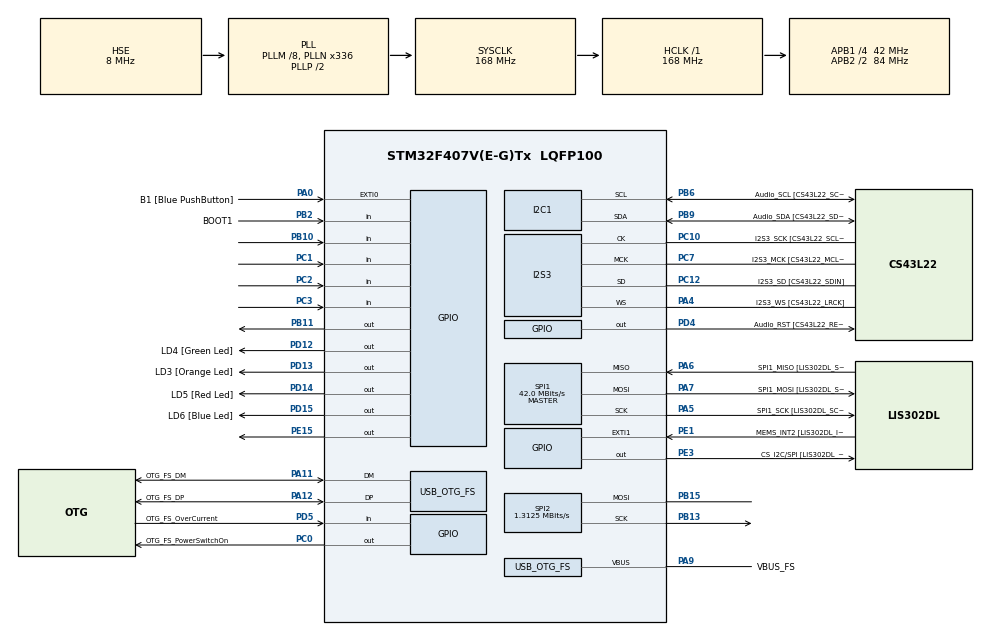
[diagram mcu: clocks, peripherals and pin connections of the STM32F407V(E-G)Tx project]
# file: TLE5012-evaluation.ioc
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FREERTOS.Tasks01=defaultTask,0,128,StartDefaultTask,Default,NULL,Dynamic,NULL,NULL
FREERTOS.configCHECK_FOR_STACK_OVERFLOW=2
FREERTOS.configUSE_MALLOC_FAILED_HOOK=1
I2S3.AudioFreq-Half_Duplex_Master=I2S_AUDIOFREQ_96K
I2S3.ErrorAudioFreq=-2.34 %
I2S3.ErrorAudioFreq-Half_Duplex_Master=0.8 %
I2S3.FullDuplexMode=I2S_FULLDUPLEXMODE_DISABLE
I2S3.Instance=SPI$Index
I2S3.RealAudioFreq=93.75 KHz
I2S3.RealAudioFreq-Half_Duplex_Master=96.774 KHz
I2S3.VirtualMode=I2S_MODE_MASTER
Mcu.Family=STM32F4
Mcu.Name=STM32F407V(E-G)Tx
Mcu.Package=LQFP100
NVIC.OTG_FS_IRQn=true\:0\:0\:false\:false\:true\:false\:true\:true
NVIC.PriorityGroup=NVIC_PRIORITYGROUP_4
NVIC.TIM8_TRG_COM_TIM14_IRQn=true\:0\:0\:false\:false\:true\:false\:false\:true
NVIC.TimeBase=TIM8_TRG_COM_TIM14_IRQn
NVIC.TimeBaseIP=TIM14
PA0-WKUP.GPIO_Label=B1 [Blue PushButton]
PA0-WKUP.GPIO_ModeDefaultEXTI=GPIO_MODE_EVT_RISING
PA0-WKUP.GPIO_PuPd=GPIO_NOPULL
PA0-WKUP.Signal=GPXTI0
PA10.GPIO_Label=OTG_FS_ID
PA10.GPIO_Mode=GPIO_MODE_AF_PP
PA10.GPIO_PuPd=GPIO_NOPULL
PA10.GPIO_Speed=GPIO_SPEED_FREQ_LOW
PA10.Signal=USB_OTG_FS_ID
PA11.GPIO_Label=OTG_FS_DM
PA11.GPIO_Mode=GPIO_MODE_AF_PP
PA11.GPIO_PuPd=GPIO_NOPULL
PA11.GPIO_Speed=GPIO_SPEED_FREQ_LOW
PA11.Mode=Host_Only
PA11.Signal=USB_OTG_FS_DM
PA12.GPIO_Label=OTG_FS_DP
PA12.GPIO_Mode=GPIO_MODE_AF_PP
PA12.GPIO_PuPd=GPIO_NOPULL
PA12.GPIO_Speed=GPIO_SPEED_FREQ_LOW
PA12.Mode=Host_Only
PA12.Signal=USB_OTG_FS_DP
PA13.GPIO_Label=SWDIO
PA13.Mode=Serial_Wire
PA13.Signal=SYS_JTMS-SWDIO
PA14.GPIO_Label=SWCLK
PA14.Mode=Serial_Wire
PA14.Signal=SYS_JTCK-SWCLK
PA4.GPIO_Label=I2S3_WS [CS43L22_LRCK]
PA4.GPIO_Mode=GPIO_MODE_AF_PP
PA4.GPIO_PuPd=GPIO_NOPULL
PA4.GPIO_Speed=GPIO_SPEED_FREQ_LOW
PA4.Mode=Half_Duplex_Master
PA4.Signal=I2S3_WS
PA5.GPIO_Label=SPI1_SCK [LIS302DL_SCL/SPC]
PA5.GPIO_Mode=GPIO_MODE_AF_PP
PA5.GPIO_PuPd=GPIO_NOPULL
PA5.GPIO_Speed=GPIO_SPEED_FREQ_LOW
PA5.Mode=Full_Duplex_Master
PA5.Signal=SPI1_SCK
PA6.GPIO_Label=SPI1_MISO [LIS302DL_SDO]
PA6.GPIO_Mode=GPIO_MODE_AF_PP
PA6.GPIO_PuPd=GPIO_NOPULL
PA6.GPIO_Speed=GPIO_SPEED_FREQ_LOW
PA6.Mode=Full_Duplex_Master
PA6.Signal=SPI1_MISO
PA7.GPIO_Label=SPI1_MOSI [LIS302DL_SDA/SDI/SDO]
PA7.GPIO_Mode=GPIO_MODE_AF_PP
PA7.GPIO_PuPd=GPIO_NOPULL
PA7.GPIO_Speed=GPIO_SPEED_FREQ_LOW
PA7.Mode=Full_Duplex_Master
PA7.Signal=SPI1_MOSI
PA9.GPIO_Label=VBUS_FS
PA9.GPIO_Mode=GPIO_MODE_INPUT
PA9.GPIO_PuPd=GPIO_NOPULL
PA9.Mode=Activate_VBUS
PA9.Signal=USB_OTG_FS_VBUS
PB10.Signal=GPIO_Input
PB11.GPIO_Speed=GPIO_SPEED_FREQ_HIGH
PB11.PinState=GPIO_PIN_SET
PB11.Signal=GPIO_Output
PB13.GPIO_Speed=GPIO_SPEED_FREQ_HIGH
PB13.Mode=Simplex_Bidirectional_Master
PB13.Signal=SPI2_SCK
PB15.GPIO_Speed=GPIO_SPEED_FREQ_HIGH
PB15.Mode=Simplex_Bidirectional_Master
PB15.Signal=SPI2_MOSI
PB2.GPIO_Label=BOOT1
PB2.GPIO_Mode=GPIO_MODE_INPUT
PB2.GPIO_PuPd=GPIO_NOPULL
PB2.Signal=GPIO_Input
PB3.GPIO_Label=SWO
PB3.Signal=SYS_JTDO-SWO
PB6.GPIO_Label=Audio_SCL [CS43L22_SCL]
PB6.GPIO_Mode=GPIO_MODE_AF_OD
PB6.GPIO_PuPd=GPIO_NOPULL
PB6.GPIO_Speed=GPIO_SPEED_FREQ_LOW
PB6.Mode=I2C
PB6.Signal=I2C1_SCL
PB9.GPIO_Label=Audio_SDA [CS43L22_SDA]
PB9.GPIO_Mode=GPIO_MODE_AF_OD
PB9.GPIO_PuPd=GPIO_NOPULL
PB9.GPIO_Speed=GPIO_SPEED_FREQ_LOW
PB9.Mode=I2C
PB9.Signal=I2C1_SDA
PC0.GPIO_Label=OTG_FS_PowerSwitchOn
PC0.GPIO_PuPd=GPIO_NOPULL
PC0.GPIO_Speed=GPIO_SPEED_FREQ_LOW
PC0.PinState=GPIO_PIN_SET
PC0.Signal=GPIO_Output
PC1.Signal=GPIO_Input
PC10.GPIO_Label=I2S3_SCK [CS43L22_SCLK]
PC10.GPIO_Mode=GPIO_MODE_AF_PP
PC10.GPIO_PuPd=GPIO_NOPULL
PC10.GPIO_Speed=GPIO_SPEED_FREQ_LOW
PC10.Mode=Half_Duplex_Master
PC10.Signal=I2S3_CK
PC12.GPIO_Label=I2S3_SD [CS43L22_SDIN]
PC12.GPIO_Mode=GPIO_MODE_AF_PP
PC12.GPIO_PuPd=GPIO_NOPULL
PC12.GPIO_Speed=GPIO_SPEED_FREQ_LOW
PC12.Mode=Half_Duplex_Master
PC12.Signal=I2S3_SD
PC14-OSC32_IN.GPIO_Label=PC14-OSC32_IN
PC14-OSC32_IN.Mode=LSE-External-Oscillator
PC14-OSC32_IN.Signal=RCC_OSC32_IN
PC15-OSC32_OUT.GPIO_Label=PC15-OSC32_OUT
PC15-OSC32_OUT.Mode=LSE-External-Oscillator
PC15-OSC32_OUT.Signal=RCC_OSC32_OUT
PC2.Signal=GPIO_Input
PC3.Signal=GPIO_Input
PC7.GPIO_Label=I2S3_MCK [CS43L22_MCLK]
PC7.GPIO_Mode=GPIO_MODE_AF_PP
PC7.GPIO_PuPd=GPIO_NOPULL
PC7.GPIO_Speed=GPIO_SPEED_FREQ_LOW
PC7.Mode=Master_Clock_Activated
PC7.Signal=I2S3_MCK
PD12.GPIO_Label=LD4 [Green Led]
PD12.GPIO_PuPd=GPIO_NOPULL
PD12.GPIO_Speed=GPIO_SPEED_FREQ_LOW
PD12.Signal=GPIO_Output
PD13.GPIO_Label=LD3 [Orange Led]
PD13.GPIO_PuPd=GPIO_NOPULL
PD13.GPIO_Speed=GPIO_SPEED_FREQ_LOW
PD13.Signal=GPIO_Output
PD14.GPIO_Label=LD5 [Red Led]
PD14.GPIO_PuPd=GPIO_NOPULL
PD14.GPIO_Speed=GPIO_SPEED_FREQ_LOW
PD14.Signal=GPIO_Output
PD15.GPIO_Label=LD6 [Blue Led]
PD15.GPIO_PuPd=GPIO_NOPULL
PD15.GPIO_Speed=GPIO_SPEED_FREQ_LOW
PD15.Signal=GPIO_Output
PD4.GPIO_Label=Audio_RST [CS43L22_RESET]
PD4.GPIO_PuPd=GPIO_NOPULL
PD4.GPIO_Speed=GPIO_SPEED_FREQ_LOW
PD4.Signal=GPIO_Output
PD5.GPIO_Label=OTG_FS_OverCurrent
PD5.GPIO_Mode=GPIO_MODE_INPUT
PD5.GPIO_PuPd=GPIO_NOPULL
PD5.Signal=GPIO_Input
PE1.GPIO_Label=MEMS_INT2 [LIS302DL_INT2]
PE1.GPIO_ModeDefaultEXTI=GPIO_MODE_EVT_RISING
PE1.GPIO_PuPd=GPIO_NOPULL
PE1.Signal=GPXTI1
PE15.Signal=GPIO_Output
PE3.GPIO_Label=CS_I2C/SPI [LIS302DL_CS_I2C/SPI]
PE3.GPIO_PuPd=GPIO_NOPULL
PE3.GPIO_Speed=GPIO_SPEED_FREQ_LOW
PE3.Signal=GPIO_Output
PH0-OSC_IN.GPIO_Label=PH0-OSC_IN
PH0-OSC_IN.Mode=HSE-External-Oscillator
PH0-OSC_IN.Signal=RCC_OSC_IN
PH1-OSC_OUT.GPIO_Label=PH1-OSC_OUT
PH1-OSC_OUT.Mode=HSE-External-Oscillator
PH1-OSC_OUT.Signal=RCC_OSC_OUT
ProjectManager.HeapSize=0x200
ProjectManager.StackSize=0x400
ProjectManager.TargetToolchain=STM32CubeIDE
RCC.48MHZClocksFreq_Value=48000000
RCC.AHBFreq_Value=168000000
RCC.APB1CLKDivider=RCC_HCLK_DIV4
RCC.APB1Freq_Value=42000000
RCC.APB1TimFreq_Value=84000000
RCC.APB2CLKDivider=RCC_HCLK_DIV2
RCC.APB2Freq_Value=84000000
RCC.APB2TimFreq_Value=168000000
RCC.CortexFreq_Value=168000000
RCC.HCLKFreq_Value=168000000
RCC.HSE_VALUE=8000000
RCC.HSI_VALUE=16000000
RCC.PLLM=8
RCC.PLLN=336
RCC.PLLQ=7
RCC.SYSCLKFreq_VALUE=168000000
RCC.SYSCLKSource=RCC_SYSCLKSOURCE_PLLCLK
RCC.VCOOutputFreq_Value=336000000
SPI1.CalculateBaudRate=42.0 MBits/s
SPI1.Direction=SPI_DIRECTION_2LINES
SPI1.Mode=SPI_MODE_MASTER
SPI1.VirtualType=VM_MASTER
SPI2.BaudRatePrescaler=SPI_BAUDRATEPRESCALER_32
SPI2.CLKPhase=SPI_PHASE_2EDGE
SPI2.CLKPolarity=SPI_POLARITY_LOW
SPI2.CalculateBaudRate=1.3125 MBits/s
SPI2.DataSize=SPI_DATASIZE_16BIT
SPI2.Direction=SPI_DIRECTION_1LINE
SPI2.Mode=SPI_MODE_MASTER
SPI2.VirtualType=VM_MASTER
USB_HOST.BSP.number=1
USB_HOST.USBH_HandleTypeDef-CDC_FS=hUsbHostFS
USB_HOST.USBH_USE_OS-CDC_FS=0
USB_HOST.VirtualModeFS=Cdc
USB_HOST0.BSP.STBoard=false
USB_HOST0.BSP.api=Unknown
USB_HOST0.BSP.i2caddr=0
USB_HOST0.BSP.i2creg=0
USB_HOST0.BSP.instance=PC0
USB_HOST0.BSP.ip=GPIO
USB_HOST0.BSP.mode=Output
USB_HOST0.BSP.name=Drive_VBUS_FS
USB_HOST0.BSP.solution=PC0
USB_OTG_FS.VirtualMode=Host_Only
USB_OTG_FS.phy_itface=HCD_PHY_EMBEDDED
VP_FREERTOS_VS_CMSIS_V1.Mode=CMSIS_V1
VP_SYS_VS_tim14.Mode=TIM14
VP_USB_HOST_VS_USB_HOST_CDC_FS.Mode=CDC_FS
board=STM32F407G-DISC1

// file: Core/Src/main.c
/* USER CODE BEGIN Header */
/**
  ******************************************************************************
  * @file           : main.c
  * @brief          : Main program body
  ******************************************************************************
  * @attention
  *
  * <h2><center>&copy; Copyright (c) 2020 STMicroelectronics.
  * All rights reserved.</center></h2>
  *
  * This software component is licensed by ST under Ultimate Liberty license
  * SLA0044, the "License"; You may not use this file except in compliance with
  * the License. You may obtain a copy of the License at:
  *                             www.st.com/SLA0044
  *
  ******************************************************************************
  */
/* USER CODE END Header */
#include "main.h"
#include "cmsis_os.h"
#include "usb_host.h"

/* USER CODE BEGIN Includes */
#include "DTek_TLE5012B.h"
/* USER CODE END Includes */

I2C_HandleTypeDef hi2c1;

I2S_HandleTypeDef hi2s3;

SPI_HandleTypeDef hspi1;
SPI_HandleTypeDef hspi2;

osThreadId defaultTaskHandle;
/* USER CODE BEGIN PV */
uint32_t SpixTimeout = 1000;
errorTypes checkError = NO_ERROR;
static double angle1 = 0.0;
static double angle2 = 0.0;
/* USER CODE END PV */

void SystemClock_Config(void);
static void MX_GPIO_Init(void);
static void MX_I2C1_Init(void);
static void MX_I2S3_Init(void);
static void MX_SPI1_Init(void);
static void MX_SPI2_Init(void);
void StartDefaultTask(void const * argument);

int main(void)
{

  /* MCU Configuration--------------------------------------------------------*/

  /* Reset of all peripherals, Initializes the Flash interface and the Systick. */
  HAL_Init();

  /* Configure the system clock */
  SystemClock_Config();

  /* Initialize all configured peripherals */
  MX_GPIO_Init();
  MX_I2C1_Init();
  MX_I2S3_Init();
  MX_SPI1_Init();
  MX_SPI2_Init();

  /* Create the thread(s) */
  /* definition and creation of defaultTask */
  osThreadDef(defaultTask, StartDefaultTask, osPriorityNormal, 0, 128);
  defaultTaskHandle = osThreadCreate(osThread(defaultTask), NULL);

  /* Start scheduler */
  osKernelStart();

  /* We should never get here as control is now taken by the scheduler */
  /* Infinite loop */
  while (1)
  {

  }
}

void SystemClock_Config(void)
{
  RCC_OscInitTypeDef RCC_OscInitStruct = {0};
  RCC_ClkInitTypeDef RCC_ClkInitStruct = {0};
  RCC_PeriphCLKInitTypeDef PeriphClkInitStruct = {0};

  /** Configure the main internal regulator output voltage
  */
  __HAL_RCC_PWR_CLK_ENABLE();
  __HAL_PWR_VOLTAGESCALING_CONFIG(PWR_REGULATOR_VOLTAGE_SCALE1);
  /** Initializes the RCC Oscillators according to the specified parameters
  * in the RCC_OscInitTypeDef structure.
  */
  RCC_OscInitStruct.OscillatorType = RCC_OSCILLATORTYPE_HSE;
  RCC_OscInitStruct.HSEState = RCC_HSE_ON;
  RCC_OscInitStruct.PLL.PLLState = RCC_PLL_ON;
  RCC_OscInitStruct.PLL.PLLSource = RCC_PLLSOURCE_HSE;
  RCC_OscInitStruct.PLL.PLLM = 8;
  RCC_OscInitStruct.PLL.PLLN = 336;
  RCC_OscInitStruct.PLL.PLLP = RCC_PLLP_DIV2;
  RCC_OscInitStruct.PLL.PLLQ = 7;
  if (HAL_RCC_OscConfig(&RCC_OscInitStruct) != HAL_OK)
  {
    Error_Handler();
  }
  /** Initializes the CPU, AHB and APB buses clocks
  */
  RCC_ClkInitStruct.ClockType = RCC_CLOCKTYPE_HCLK|RCC_CLOCKTYPE_SYSCLK
                              |RCC_CLOCKTYPE_PCLK1|RCC_CLOCKTYPE_PCLK2;
  RCC_ClkInitStruct.SYSCLKSource = RCC_SYSCLKSOURCE_PLLCLK;
  RCC_ClkInitStruct.AHBCLKDivider = RCC_SYSCLK_DIV1;
  RCC_ClkInitStruct.APB1CLKDivider = RCC_HCLK_DIV4;
  RCC_ClkInitStruct.APB2CLKDivider = RCC_HCLK_DIV2;

  if (HAL_RCC_ClockConfig(&RCC_ClkInitStruct, FLASH_LATENCY_5) != HAL_OK)
  {
    Error_Handler();
  }
  PeriphClkInitStruct.PeriphClockSelection = RCC_PERIPHCLK_I2S;
  PeriphClkInitStruct.PLLI2S.PLLI2SN = 192;
  PeriphClkInitStruct.PLLI2S.PLLI2SR = 2;
  if (HAL_RCCEx_PeriphCLKConfig(&PeriphClkInitStruct) != HAL_OK)
  {
    Error_Handler();
  }
}

static void MX_I2C1_Init(void)
{

  hi2c1.Instance = I2C1;
  hi2c1.Init.ClockSpeed = 100000;
  hi2c1.Init.DutyCycle = I2C_DUTYCYCLE_2;
  hi2c1.Init.OwnAddress1 = 0;
  hi2c1.Init.AddressingMode = I2C_ADDRESSINGMODE_7BIT;
  hi2c1.Init.DualAddressMode = I2C_DUALADDRESS_DISABLE;
  hi2c1.Init.OwnAddress2 = 0;
  hi2c1.Init.GeneralCallMode = I2C_GENERALCALL_DISABLE;
  hi2c1.Init.NoStretchMode = I2C_NOSTRETCH_DISABLE;
  if (HAL_I2C_Init(&hi2c1) != HAL_OK)
  {
    Error_Handler();
  }

}

static void MX_I2S3_Init(void)
{

  hi2s3.Instance = SPI3;
  hi2s3.Init.Mode = I2S_MODE_MASTER_TX;
  hi2s3.Init.Standard = I2S_STANDARD_PHILIPS;
  hi2s3.Init.DataFormat = I2S_DATAFORMAT_16B;
  hi2s3.Init.MCLKOutput = I2S_MCLKOUTPUT_ENABLE;
  hi2s3.Init.AudioFreq = I2S_AUDIOFREQ_96K;
  hi2s3.Init.CPOL = I2S_CPOL_LOW;
  hi2s3.Init.ClockSource = I2S_CLOCK_PLL;
  hi2s3.Init.FullDuplexMode = I2S_FULLDUPLEXMODE_DISABLE;
  if (HAL_I2S_Init(&hi2s3) != HAL_OK)
  {
    Error_Handler();
  }

}

static void MX_SPI1_Init(void)
{

  /* SPI1 parameter configuration*/
  hspi1.Instance = SPI1;
  hspi1.Init.Mode = SPI_MODE_MASTER;
  hspi1.Init.Direction = SPI_DIRECTION_2LINES;
  hspi1.Init.DataSize = SPI_DATASIZE_8BIT;
  hspi1.Init.CLKPolarity = SPI_POLARITY_LOW;
  hspi1.Init.CLKPhase = SPI_PHASE_1EDGE;
  hspi1.Init.NSS = SPI_NSS_SOFT;
  hspi1.Init.BaudRatePrescaler = SPI_BAUDRATEPRESCALER_2;
  hspi1.Init.FirstBit = SPI_FIRSTBIT_MSB;
  hspi1.Init.TIMode = SPI_TIMODE_DISABLE;
  hspi1.Init.CRCCalculation = SPI_CRCCALCULATION_DISABLE;
  hspi1.Init.CRCPolynomial = 10;
  if (HAL_SPI_Init(&hspi1) != HAL_OK)
  {
    Error_Handler();
  }

}

static void MX_SPI2_Init(void)
{

  /* SPI2 parameter configuration*/
  hspi2.Instance = SPI2;
  hspi2.Init.Mode = SPI_MODE_MASTER;
  hspi2.Init.Direction = SPI_DIRECTION_1LINE;
  hspi2.Init.DataSize = SPI_DATASIZE_16BIT;
  hspi2.Init.CLKPolarity = SPI_POLARITY_LOW;
  hspi2.Init.CLKPhase = SPI_PHASE_2EDGE;
  hspi2.Init.NSS = SPI_NSS_SOFT;
  hspi2.Init.BaudRatePrescaler = SPI_BAUDRATEPRESCALER_32;
  hspi2.Init.FirstBit = SPI_FIRSTBIT_MSB;
  hspi2.Init.TIMode = SPI_TIMODE_DISABLE;
  hspi2.Init.CRCCalculation = SPI_CRCCALCULATION_DISABLE;
  hspi2.Init.CRCPolynomial = 10;
  if (HAL_SPI_Init(&hspi2) != HAL_OK)
  {
    Error_Handler();
  }

}

static void MX_GPIO_Init(void)
{
  GPIO_InitTypeDef GPIO_InitStruct = {0};

  /* GPIO Ports Clock Enable */
  __HAL_RCC_GPIOE_CLK_ENABLE();
  __HAL_RCC_GPIOC_CLK_ENABLE();
  __HAL_RCC_GPIOH_CLK_ENABLE();
  __HAL_RCC_GPIOA_CLK_ENABLE();
  __HAL_RCC_GPIOB_CLK_ENABLE();
  __HAL_RCC_GPIOD_CLK_ENABLE();

  /*Configure GPIO pin Output Level */
  HAL_GPIO_WritePin(GPIOE, CS_I2C_SPI_Pin|GPIO_PIN_15, GPIO_PIN_RESET);

  /*Configure GPIO pin Output Level */
  HAL_GPIO_WritePin(OTG_FS_PowerSwitchOn_GPIO_Port, OTG_FS_PowerSwitchOn_Pin, GPIO_PIN_SET);

  /*Configure GPIO pin Output Level */
  HAL_GPIO_WritePin(GPIOB, GPIO_PIN_11, GPIO_PIN_SET);

  /*Configure GPIO pin Output Level */
  HAL_GPIO_WritePin(GPIOD, LD4_Pin|LD3_Pin|LD5_Pin|LD6_Pin
                          |Audio_RST_Pin, GPIO_PIN_RESET);

  /*Configure GPIO pins : CS_I2C_SPI_Pin PE15 */
  GPIO_InitStruct.Pin = CS_I2C_SPI_Pin|GPIO_PIN_15;
  GPIO_InitStruct.Mode = GPIO_MODE_OUTPUT_PP;
  GPIO_InitStruct.Pull = GPIO_NOPULL;
  GPIO_InitStruct.Speed = GPIO_SPEED_FREQ_LOW;
  HAL_GPIO_Init(GPIOE, &GPIO_InitStruct);

  /*Configure GPIO pin : OTG_FS_PowerSwitchOn_Pin */
  GPIO_InitStruct.Pin = OTG_FS_PowerSwitchOn_Pin;
  GPIO_InitStruct.Mode = GPIO_MODE_OUTPUT_PP;
  GPIO_InitStruct.Pull = GPIO_NOPULL;
  GPIO_InitStruct.Speed = GPIO_SPEED_FREQ_LOW;
  HAL_GPIO_Init(OTG_FS_PowerSwitchOn_GPIO_Port, &GPIO_InitStruct);

  /*Configure GPIO pins : PC1 PC2 PC3 */
  GPIO_InitStruct.Pin = GPIO_PIN_1|GPIO_PIN_2|GPIO_PIN_3;
  GPIO_InitStruct.Mode = GPIO_MODE_INPUT;
  GPIO_InitStruct.Pull = GPIO_NOPULL;
  HAL_GPIO_Init(GPIOC, &GPIO_InitStruct);

  /*Configure GPIO pin : B1_Pin */
  GPIO_InitStruct.Pin = B1_Pin;
  GPIO_InitStruct.Mode = GPIO_MODE_EVT_RISING;
  GPIO_InitStruct.Pull = GPIO_NOPULL;
  HAL_GPIO_Init(B1_GPIO_Port, &GPIO_InitStruct);

  /*Configure GPIO pins : BOOT1_Pin PB10 */
  GPIO_InitStruct.Pin = BOOT1_Pin|GPIO_PIN_10;
  GPIO_InitStruct.Mode = GPIO_MODE_INPUT;
  GPIO_InitStruct.Pull = GPIO_NOPULL;
  HAL_GPIO_Init(GPIOB, &GPIO_InitStruct);

  /*Configure GPIO pin : PB11 */
  GPIO_InitStruct.Pin = GPIO_PIN_11;
  GPIO_InitStruct.Mode = GPIO_MODE_OUTPUT_PP;
  GPIO_InitStruct.Pull = GPIO_NOPULL;
  GPIO_InitStruct.Speed = GPIO_SPEED_FREQ_HIGH;
  HAL_GPIO_Init(GPIOB, &GPIO_InitStruct);

  /*Configure GPIO pins : LD4_Pin LD3_Pin LD5_Pin LD6_Pin
                           Audio_RST_Pin */
  GPIO_InitStruct.Pin = LD4_Pin|LD3_Pin|LD5_Pin|LD6_Pin
                          |Audio_RST_Pin;
  GPIO_InitStruct.Mode = GPIO_MODE_OUTPUT_PP;
  GPIO_InitStruct.Pull = GPIO_NOPULL;
  GPIO_InitStruct.Speed = GPIO_SPEED_FREQ_LOW;
  HAL_GPIO_Init(GPIOD, &GPIO_InitStruct);

  /*Configure GPIO pin : OTG_FS_OverCurrent_Pin */
  GPIO_InitStruct.Pin = OTG_FS_OverCurrent_Pin;
  GPIO_InitStruct.Mode = GPIO_MODE_INPUT;
  GPIO_InitStruct.Pull = GPIO_NOPULL;
  HAL_GPIO_Init(OTG_FS_OverCurrent_GPIO_Port, &GPIO_InitStruct);

  /*Configure GPIO pin : MEMS_INT2_Pin */
  GPIO_InitStruct.Pin = MEMS_INT2_Pin;
  GPIO_InitStruct.Mode = GPIO_MODE_EVT_RISING;
  GPIO_InitStruct.Pull = GPIO_NOPULL;
  HAL_GPIO_Init(MEMS_INT2_GPIO_Port, &GPIO_InitStruct);

}

/* USER CODE BEGIN 4 */
/**
  * @brief  SPI error treatment function.
  */
static void SPI2_Error (void)
{
  /* De-initialize the SPI communication BUS */
  HAL_SPI_DeInit(&hspi2);

  /* Re-Initiaize the SPI communication BUS */
  MX_SPI2_Init();
}
/**
  * @brief  SPI Write a byte to device
  * @param  DataIn: value to be written
  * @param  DataOut: value to be read
  * @param  DataLegnth: length of data
  */
static void SPI2_WriteReadData(const uint8_t *DataIn, uint8_t *DataOut, uint16_t DataLegnth)
{
  HAL_StatusTypeDef status = HAL_OK;

  status = HAL_SPI_TransmitReceive(&hspi2, (uint8_t*) DataIn, DataOut, DataLegnth, SpixTimeout);

  /* Check the communication status */
  if(status != HAL_OK)
  {
	  /* Execute user timeout callback */
	  SPI2_Error();
  }
}

/**
  * @brief  SPI Write a byte to device.
  * @param  Value: value to be written
  */
static void SPI2_Write(uint8_t Value)
{
  HAL_StatusTypeDef status = HAL_OK;
  uint8_t data;

  status = HAL_SPI_TransmitReceive(&hspi2, (uint8_t*) &Value, &data, 1, SpixTimeout);

  /* Check the communication status */
  if(status != HAL_OK)
  {
	  /* Execute user timeout callback */
	  SPI2_Error();
  }
}

/* USER CODE END 4 */

void StartDefaultTask(void const * argument)
{
  /* init code for USB_HOST */
  MX_USB_HOST_Init();
  /* USER CODE BEGIN 5 */

  SPI_CS_Disable(0);
  SPI_CS_Disable(1);
  checkError = readBlockCRC(0);
  //printf("Init done!!! ERROR CODE: 0x%02X\r\n", checkError);
  checkError = NO_ERROR;
  HAL_Delay(1);
  checkError = readBlockCRC(1);
  //printf("Init done!!! ERROR CODE: 0x%02X\r\n", checkError);
  checkError = NO_ERROR;

  /* Infinite loop */
  for(;;)
  {
    osDelay(500);
    HAL_GPIO_TogglePin(GPIOD, GPIO_PIN_15);
    checkError = getAngleValue(&angle1,0);
    HAL_Delay(1);
    checkError = getAngleValue(&angle2,1);
  }
  /* USER CODE END 5 */
}

void HAL_TIM_PeriodElapsedCallback(TIM_HandleTypeDef *htim)
{
  if (htim->Instance == TIM14) {
    HAL_IncTick();
  }
}

void Error_Handler(void)
{
}

/************************ (C) COPYRIGHT STMicroelectronics *****END OF FILE****/
